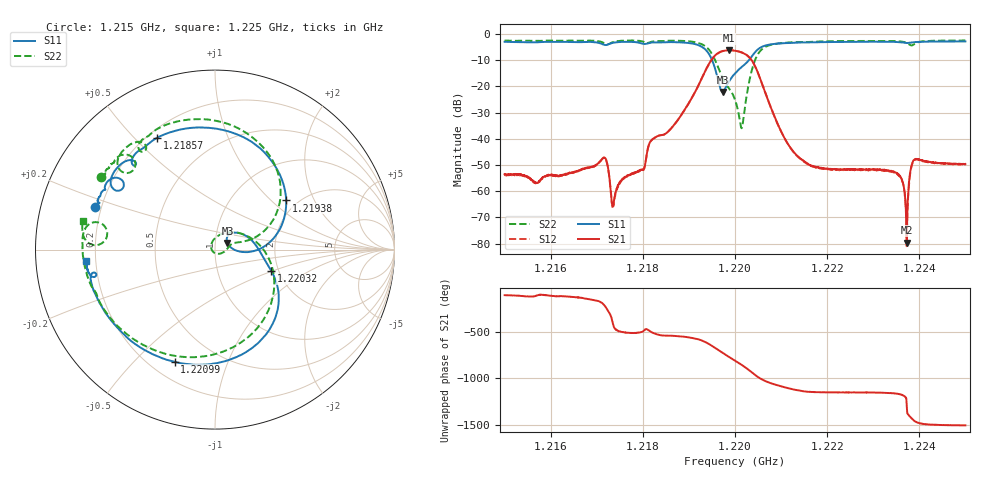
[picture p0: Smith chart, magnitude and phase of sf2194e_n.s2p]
!SF2194
# HZ S RI R 50
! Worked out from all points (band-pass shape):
!   1601 points, 1.215 GHz to 1.225 GHz, reference 50 ohm
!   highest |S21| = -6.18 dB at 1.21987 GHz (marker M1); lowest = -79.6 dB at 1.22372 GHz (marker M2)
!   |S21| within 3 dB of the highest: 1.219517 GHz to 1.220328 GHz (811.3 kHz wide, 0.0665 % of centre)
!   lowest |S11| = -22.1 dB at 1.21973 GHz (marker M3), VSWR 1.17, Z = 57.3 + j4.19 ohm
!   |S11| at or under -10 dB: 1.219504 GHz to 1.2203 GHz (796.5 kHz wide, 0.0653 % of centre)
!   |S22| runs from -35.9 to -2.4 dB; largest |S21 - S12| = 0.0094
!   S11 on the Smith chart (normalised r, x): 1.215 GHz: 0.17, +0.17; 1.21857 GHz: 0.24, +0.58; 1.21938 GHz: 1.75, +1.25; 1.22032 GHz: 1.83, -0.50; 1.22099 GHz: 0.30, -0.66; 1.225 GHz: 0.16, -0.04
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1.215e9  -0.671 0.2392  -0.000574 -0.00205  -0.000566 -0.00201  -0.6334 0.4063
1.216669e9  -0.6137 0.3401  -0.00182 -0.00186  -0.00183 -0.00185  -0.562 0.4843
1.217169e9  -0.5078 0.3575  -0.00348 0.00269  -0.00349 0.00257  -0.4471 0.495
1.217362e9  -0.5804 0.3633  0.000164 -0.000537  0.000129 -0.000506  -0.5395 0.4589
1.218337e9  -0.4107 0.559  -0.0113 -0.00163  -0.0113 -0.00161  -0.3927 0.622
1.218575e9  -0.3208 0.6239  -0.0145 0.000538  -0.0145 0.000506  -0.3196 0.6736
1.219081e9  0.1036 0.6491  -0.0569 0.0306  -0.0566 0.0309  0.0317 0.7121
1.219381e9  0.3965 0.2739  -0.049 0.2162  -0.0473 0.2134  0.3439 0.4456
1.219731e9  0.0695 0.0363  0.4681 -0.0683  0.4695 -0.0641  0.1369 0.041
1.219875e9  0.089 0.09  0.2952 -0.3919  0.2979 -0.3937  0.0863 0.0264
1.22e9  0.1552 0.0856  -0.01 -0.4798  -0.0133 -0.4855  0.0551 -0.00915
1.22015e9  0.237 0.0109  -0.3339 -0.2925  -0.3403 -0.2875  -0.0143 -0.00765
1.220325e9  0.3141 -0.1201  -0.3241 0.1319  -0.3188 0.133  0.1093 0.0963
1.220481e9  0.3428 -0.3588  -0.0271 0.1956  -0.0287 0.1952  0.3298 -0.2087
1.220656e9  0.1481 -0.5854  0.0505 0.0576  0.0508 0.0577  0.0566 -0.5637
1.220994e9  -0.2247 -0.6252  0.0142 -0.00181  0.014 -0.00204  -0.4308 -0.5133
1.221669e9  -0.5333 -0.4459  0.00102 -0.00291  0.00104 -0.00282  -0.6752 -0.2236
1.223337e9  -0.6921 -0.1701  0.0004 -0.00246  0.000443 -0.00238  -0.7339 0.089
1.2236e9  -0.6848 -0.1319  -0.000209 -0.00183  -0.000189 -0.00176  -0.7093 0.1346
1.223725e9  -0.6622 -0.1351  -9.59e-05 4.32e-05  -8.95e-05 -5.8e-06  -0.6585 0.1526
1.223906e9  -0.6863 -0.1499  0.00368 -0.00179  0.00361 -0.00166  -0.6541 0.0255
1.225e9  -0.7199 -0.064  0.00116 -0.0031  0.0011 -0.00308  -0.7368 0.1572
